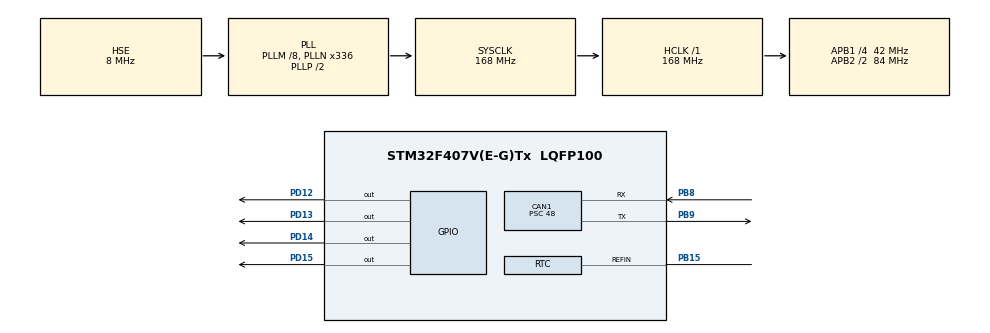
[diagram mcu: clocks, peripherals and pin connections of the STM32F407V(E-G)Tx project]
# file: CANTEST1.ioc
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CAN1.BS1=CAN_BS1_4TQ
CAN1.BS2=CAN_BS2_2TQ
CAN1.CalculateBaudRate=125000
CAN1.CalculateTimeBit=8000
CAN1.CalculateTimeQuantum=1142.857142857143
CAN1.Prescaler=48
Mcu.Family=STM32F4
Mcu.Name=STM32F407V(E-G)Tx
Mcu.Package=LQFP100
NVIC.PriorityGroup=NVIC_PRIORITYGROUP_4
PA13.Mode=Serial_Wire
PA13.Signal=SYS_JTMS-SWDIO
PA14.Mode=Serial_Wire
PA14.Signal=SYS_JTCK-SWCLK
PB15.Mode=Reference_Clock_Detection_Activate
PB15.Signal=RTC_REFIN
PB8.Mode=CAN_Activate
PB8.Signal=CAN1_RX
PB9.Mode=CAN_Activate
PB9.Signal=CAN1_TX
PD12.Signal=GPIO_Output
PD13.Signal=GPIO_Output
PD14.Signal=GPIO_Output
PD15.Signal=GPIO_Output
PH0-OSC_IN.Mode=HSE-External-Oscillator
PH0-OSC_IN.Signal=RCC_OSC_IN
PH1-OSC_OUT.Mode=HSE-External-Oscillator
PH1-OSC_OUT.Signal=RCC_OSC_OUT
ProjectManager.HeapSize=0x200
ProjectManager.StackSize=0x400
ProjectManager.TargetToolchain=MDK-ARM V5.32
RCC.48MHZClocksFreq_Value=84000000
RCC.AHBFreq_Value=168000000
RCC.APB1CLKDivider=RCC_HCLK_DIV4
RCC.APB1Freq_Value=42000000
RCC.APB1TimFreq_Value=84000000
RCC.APB2CLKDivider=RCC_HCLK_DIV2
RCC.APB2Freq_Value=84000000
RCC.APB2TimFreq_Value=168000000
RCC.CortexFreq_Value=168000000
RCC.HCLKFreq_Value=168000000
RCC.HSE_VALUE=8000000
RCC.HSI_VALUE=16000000
RCC.LSE_VALUE=32768
RCC.PLLM=8
RCC.PLLN=336
RCC.PLLSourceVirtual=RCC_PLLSOURCE_HSE
RCC.SYSCLKFreq_VALUE=168000000
RCC.SYSCLKSource=RCC_SYSCLKSOURCE_PLLCLK
RCC.VCOOutputFreq_Value=336000000
VP_RTC_VS_RTC_Activate.Mode=RTC_Enabled
board=custom

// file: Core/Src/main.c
/* USER CODE BEGIN Header */
/**
  ******************************************************************************
  * @file           : main.c
  * @brief          : Main program body
  ******************************************************************************
  * @attention
  *
  * Copyright (c) 2024 STMicroelectronics.
  * All rights reserved.
  *
  * This software is licensed under terms that can be found in the LICENSE file
  * in the root directory of this software component.
  * If no LICENSE file comes with this software, it is provided AS-IS.
  *
  ******************************************************************************
  */
/* USER CODE END Header */
#include "main.h"

/* USER CODE BEGIN Includes */
#include "stm32f4xx_hal.h"
#include "stdio.h"
#include "stdint.h"
#include "string.h"
#include "func.h"
#include "stdlib.h"

/* USER CODE END Includes */

/* USER CODE BEGIN PTD */

uint8_t SendNumbers[120]; // Array to store the numbers

int indexx;

// Global Variables for cell voltages, temperatures, Stack voltage, PACK Pin voltage, LD Pin voltage, CC2 current
int16_t CellVoltage [16] = {260,100,12,0x00,0x00,0x00,0x00,51,0x00,0x00,0x00,0x00,0x00,0x00,0x00};
uint16_t Stack_Voltage = 0x00;
uint16_t Pack_Voltage = 0x00;
uint16_t LD_Voltage = 0x00;
int16_t CC2_current;
int16_t Temperature [6] = {20,0,0,80,0,0};
uint16_t soc_char;
uint16_t value_CB_ACTIVE_CELLS =123; // Cell Balancing Active Cells
uint16_t value_CBSTATUS1 = 60;  //Cell Balancing Time
uint8_t value_SafetyStatusA;  // Safety Status Register A
uint8_t value_SafetyStatusB;  // Safety Status Register B
uint8_t value_SafetyStatusC;  // Safety Status Register C
uint8_t value_SafetyAlertA;  // Safety Alert Register A
uint8_t value_SafetyAlertB;  // Safety Alert Register B
uint8_t value_SafetyAlertC;  // Safety Alert Register C
uint16_t value_MANUFACTURINGSTATUS = 35;
uint16_t value_BatteryStatus =688;  // Battery Status
uint16_t AlarmBits = 466; // Alarm Status
uint8_t FET_Status = 150;  // FET Status register contents  - Shows states of FETs
uint8_t log_data[6];

/* USER CODE END PTD */

CAN_HandleTypeDef hcan1;

RTC_HandleTypeDef hrtc;

/* USER CODE BEGIN PV */

CAN_HandleTypeDef hcan1;
CAN_TxHeaderTypeDef   pHeader;
CAN_RxHeaderTypeDef   pRxHeader;
uint32_t  TxMailBox;

uint8_t  DataS[8];

CAN_FilterTypeDef sFilterConfig;

uint16_t OwnID = 0x123;
uint16_t RemoteID = 0x124;

/* USER CODE END PV */

void SystemClock_Config(void);
static void MX_GPIO_Init(void);
static void MX_CAN1_Init(void);
static void MX_RTC_Init(void);

int main(void)
{

  /* USER CODE BEGIN 1 */
    RTC_TimeTypeDef sTime;
    RTC_DateTypeDef sDate;
  /* USER CODE END 1 */

  /* MCU Configuration--------------------------------------------------------*/

  /* Reset of all peripherals, Initializes the Flash interface and the Systick. */
  HAL_Init();

  /* Configure the system clock */
  SystemClock_Config();

  /* Initialize all configured peripherals */
  MX_GPIO_Init();
  MX_CAN1_Init();
  MX_RTC_Init();
  /* USER CODE BEGIN 2 */

		//Set Transmit header paramters
	pHeader.DLC = 8;
	pHeader.IDE = CAN_ID_STD;
	pHeader.StdId = OwnID;
	pHeader.RTR = CAN_RTR_DATA;

	//config filter
  sFilterConfig.FilterFIFOAssignment=CAN_FILTER_FIFO0;
	sFilterConfig.FilterIdHigh=RemoteID<<5;
	sFilterConfig.FilterIdLow=0;
	sFilterConfig.FilterMaskIdHigh=0;
	sFilterConfig.FilterMaskIdLow=0;
	sFilterConfig.FilterScale=CAN_FILTERSCALE_32BIT;
	sFilterConfig.FilterActivation=ENABLE;

	HAL_CAN_ConfigFilter(&hcan1, &sFilterConfig);

  HAL_CAN_Start(&hcan1);

  /* USER CODE END 2 */

  /* Infinite loop */
  while (1)
  {

    /* USER CODE BEGIN 3 */
		indexx = 0;

		AddUint8ToArray(value_SafetyStatusA, SendNumbers, indexx);
		indexx++;

		AddUint8ToArray(value_SafetyStatusB, SendNumbers, indexx);
		indexx++;

		AddUint8ToArray(value_SafetyStatusC, SendNumbers, indexx);
		indexx++;

		AddUint8ToArray(value_SafetyAlertA, SendNumbers, indexx);
		indexx++;

		AddUint8ToArray(value_SafetyAlertB, SendNumbers, indexx);
		indexx++;

		AddUint8ToArray(value_SafetyAlertC, SendNumbers, indexx);
		indexx++;

		AddUint8ToArray(FET_Status, SendNumbers, indexx);
		indexx++;

		// uint_8 done 6

		for (int i = 0; i < 16; i++)
		{
			AddInt16ToArray(CellVoltage[i], SendNumbers, indexx);
			indexx += 2;
		}

		for (int i = 0; i < 6; i++)
		{
			AddInt16ToArray(Temperature[i], SendNumbers, indexx);
			indexx += 2;
		}

		AddInt16ToArray(CC2_current, SendNumbers, indexx);
		indexx += 2;

		// int16_t done

		AddUint16ToArray(Stack_Voltage, SendNumbers, indexx);
		indexx += 2;

		AddUint16ToArray(Pack_Voltage, SendNumbers, indexx);
		indexx += 2;

		AddUint16ToArray(LD_Voltage, SendNumbers, indexx);
		indexx += 2;

		AddUint16ToArray(soc_char, SendNumbers, indexx);
		indexx += 2;

		AddUint16ToArray(value_CB_ACTIVE_CELLS, SendNumbers, indexx);
		indexx += 2;

		AddUint16ToArray(value_CBSTATUS1, SendNumbers, indexx);
		indexx += 2;

		AddUint16ToArray(value_MANUFACTURINGSTATUS, SendNumbers, indexx);
		indexx += 2;

		AddUint16ToArray(value_BatteryStatus, SendNumbers, indexx);
		indexx += 2;

		AddUint16ToArray(AlarmBits, SendNumbers, indexx);
		indexx += 2;

		// uint16_t done

		HAL_RTC_GetTime(&hrtc, &sTime, RTC_FORMAT_BIN);
    HAL_RTC_GetDate(&hrtc, &sDate, RTC_FORMAT_BIN);
		/* Prepare the CAN data */

		log_data[0] = sDate.Year;
    log_data[1] = sDate.Month;
    log_data[2] = sDate.Date;
    log_data[3] = sTime.Hours;
    log_data[4] = sTime.Minutes;
    log_data[5] = sTime.Seconds;

		for (int i = 0; i < 6; i++) {

			AddUint8ToArray(log_data[i], SendNumbers, indexx);
			indexx++;
		}

		// Timing done

		HAL_Delay(20);

    uint8_t DataSend[8] = {0}; // Initialize to zeros
		            // Loop to send the numbers array over CAN
            for (int i = 0; i < 15; i++) {

                // Set the data bytes of the CAN message

                for (int j = 0; j < 8; j++) {
                        DataSend[j] = SendNumbers[i * 8 + j];
                }
                // Send CAN message
                HAL_CAN_AddTxMessage(&hcan1, &pHeader, DataSend, &TxMailBox);

                // Delay to ensure CAN message is transmitted before proceeding to the next one
                HAL_Delay(1); // Adjust delay as needed depending on CAN bus speed and message length

							}

    HAL_Delay(100);
		HAL_GPIO_TogglePin(GPIOD, GPIO_PIN_12);
		HAL_GPIO_TogglePin(GPIOD, GPIO_PIN_13);
		HAL_GPIO_TogglePin(GPIOD, GPIO_PIN_14);
		HAL_GPIO_TogglePin(GPIOD, GPIO_PIN_15);

		HAL_Delay(100);
		HAL_GPIO_TogglePin(GPIOD, GPIO_PIN_12);
		HAL_GPIO_TogglePin(GPIOD, GPIO_PIN_13);
		HAL_GPIO_TogglePin(GPIOD, GPIO_PIN_14);
		HAL_GPIO_TogglePin(GPIOD, GPIO_PIN_15);

  }
  /* USER CODE END 3 */
}

void SystemClock_Config(void)
{
  RCC_OscInitTypeDef RCC_OscInitStruct = {0};
  RCC_ClkInitTypeDef RCC_ClkInitStruct = {0};

  /** Configure the main internal regulator output voltage
  */
  __HAL_RCC_PWR_CLK_ENABLE();
  __HAL_PWR_VOLTAGESCALING_CONFIG(PWR_REGULATOR_VOLTAGE_SCALE1);

  /** Initializes the RCC Oscillators according to the specified parameters
  * in the RCC_OscInitTypeDef structure.
  */
  RCC_OscInitStruct.OscillatorType = RCC_OSCILLATORTYPE_LSI|RCC_OSCILLATORTYPE_HSE;
  RCC_OscInitStruct.HSEState = RCC_HSE_ON;
  RCC_OscInitStruct.LSIState = RCC_LSI_ON;
  RCC_OscInitStruct.PLL.PLLState = RCC_PLL_ON;
  RCC_OscInitStruct.PLL.PLLSource = RCC_PLLSOURCE_HSE;
  RCC_OscInitStruct.PLL.PLLM = 8;
  RCC_OscInitStruct.PLL.PLLN = 336;
  RCC_OscInitStruct.PLL.PLLP = RCC_PLLP_DIV2;
  RCC_OscInitStruct.PLL.PLLQ = 4;
  if (HAL_RCC_OscConfig(&RCC_OscInitStruct) != HAL_OK)
  {
    Error_Handler();
  }

  /** Initializes the CPU, AHB and APB buses clocks
  */
  RCC_ClkInitStruct.ClockType = RCC_CLOCKTYPE_HCLK|RCC_CLOCKTYPE_SYSCLK
                              |RCC_CLOCKTYPE_PCLK1|RCC_CLOCKTYPE_PCLK2;
  RCC_ClkInitStruct.SYSCLKSource = RCC_SYSCLKSOURCE_PLLCLK;
  RCC_ClkInitStruct.AHBCLKDivider = RCC_SYSCLK_DIV1;
  RCC_ClkInitStruct.APB1CLKDivider = RCC_HCLK_DIV4;
  RCC_ClkInitStruct.APB2CLKDivider = RCC_HCLK_DIV2;

  if (HAL_RCC_ClockConfig(&RCC_ClkInitStruct, FLASH_LATENCY_5) != HAL_OK)
  {
    Error_Handler();
  }
}

static void MX_CAN1_Init(void)
{

  hcan1.Instance = CAN1;
  hcan1.Init.Prescaler = 48;
  hcan1.Init.Mode = CAN_MODE_NORMAL;
  hcan1.Init.SyncJumpWidth = CAN_SJW_1TQ;
  hcan1.Init.TimeSeg1 = CAN_BS1_4TQ;
  hcan1.Init.TimeSeg2 = CAN_BS2_2TQ;
  hcan1.Init.TimeTriggeredMode = DISABLE;
  hcan1.Init.AutoBusOff = DISABLE;
  hcan1.Init.AutoWakeUp = DISABLE;
  hcan1.Init.AutoRetransmission = DISABLE;
  hcan1.Init.ReceiveFifoLocked = DISABLE;
  hcan1.Init.TransmitFifoPriority = DISABLE;
  if (HAL_CAN_Init(&hcan1) != HAL_OK)
  {
    Error_Handler();
  }

}

static void MX_RTC_Init(void)
{

  /** Initialize RTC Only
  */
  hrtc.Instance = RTC;
  hrtc.Init.HourFormat = RTC_HOURFORMAT_24;
  hrtc.Init.AsynchPrediv = 127;
  hrtc.Init.SynchPrediv = 255;
  hrtc.Init.OutPut = RTC_OUTPUT_DISABLE;
  hrtc.Init.OutPutPolarity = RTC_OUTPUT_POLARITY_HIGH;
  hrtc.Init.OutPutType = RTC_OUTPUT_TYPE_OPENDRAIN;
  if (HAL_RTC_Init(&hrtc) != HAL_OK)
  {
    Error_Handler();
  }

  /** Enable the reference Clock input
  */
  if (HAL_RTCEx_SetRefClock(&hrtc) != HAL_OK)
  {
    Error_Handler();
  }

}

static void MX_GPIO_Init(void)
{
  GPIO_InitTypeDef GPIO_InitStruct = {0};

  /* GPIO Ports Clock Enable */
  __HAL_RCC_GPIOH_CLK_ENABLE();
  __HAL_RCC_GPIOB_CLK_ENABLE();
  __HAL_RCC_GPIOD_CLK_ENABLE();
  __HAL_RCC_GPIOA_CLK_ENABLE();

  /*Configure GPIO pin Output Level */
  HAL_GPIO_WritePin(GPIOD, GPIO_PIN_12|GPIO_PIN_13|GPIO_PIN_14|GPIO_PIN_15, GPIO_PIN_RESET);

  /*Configure GPIO pins : PD12 PD13 PD14 PD15 */
  GPIO_InitStruct.Pin = GPIO_PIN_12|GPIO_PIN_13|GPIO_PIN_14|GPIO_PIN_15;
  GPIO_InitStruct.Mode = GPIO_MODE_OUTPUT_PP;
  GPIO_InitStruct.Pull = GPIO_NOPULL;
  GPIO_InitStruct.Speed = GPIO_SPEED_FREQ_LOW;
  HAL_GPIO_Init(GPIOD, &GPIO_InitStruct);

}

void Error_Handler(void)
{
  __disable_irq();
  while (1)
  {
  }
}
